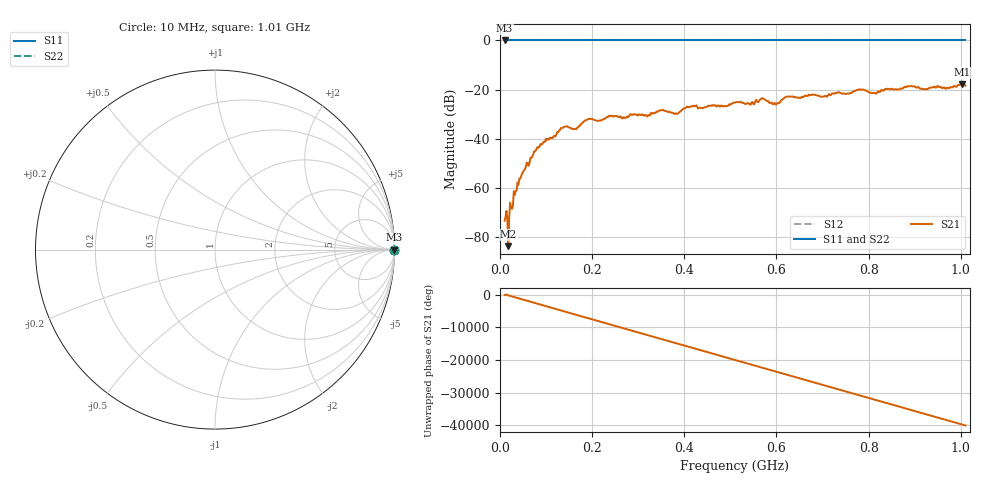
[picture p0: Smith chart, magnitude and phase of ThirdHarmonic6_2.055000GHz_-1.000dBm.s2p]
! 8/17/2025 12:38:05 AM
! C:\ANRITSUVNA\TEMP\TEMP.S2P
! CHANNEL.1
! TR.MEASUREMENT
! RAW.DATA
! RF.CORRECTION.OFF
! AVERAGING.OFF
! IF.BANDWIDTH: 5KHZ
! SWEEPTYPE:  FREQ.SWEEP(Linear)
! Reference Plane Port Info
! PORT:  PORT1  PORT2
! DISTANCE:  0  m  0  m
! TIME:  0  s  0  s
! PHASE.OFFSET:  0  deg.  0  deg.
! LOSS:  0  dB  0  dB
! REF.LOSS:  0  dB  0  dB
! REF.FREQ:  0  Hz  0  Hz
! Power Info
! POWER:  -20  dBm  -20  dBm
! EFF.POWER:  -20  dBm  -20  dBm
! SOURCE.ATTEN:  0  dB  0  dB
! TEST.ATTEN:  0  dB  0  dB
# GHZ S RI R 50.0
! FREQ.GHZ  S11RE  S11IM  S21RE  S21IM  S12RE  S12IM  S22RE  S22IM
!; PortSelection: Port_12
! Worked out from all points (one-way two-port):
!   501 points, 10 MHz to 1.01 GHz, reference 50 ohm
!   highest |S21| = -17.80 dB at 1.002 GHz (marker M1); lowest = -83.7 dB at 18 MHz (marker M2)
!   lowest |S11| = 0.0 dB at 10 MHz (marker M3)
!   |S11| at or under -10 dB: nowhere
!   |S22| runs from 0.0 to 0.0 dB; largest |S21 - S12| = 1.1
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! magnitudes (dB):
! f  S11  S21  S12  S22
! 10 MHz  0.0  -73.4  0.0  0.0
! 14 MHz  0.0  -69.3  0.0  0.0
! 18 MHz  0.0  -83.7  0.0  0.0
! 22 MHz  0.0  -66.0  0.0  0.0
! 26 MHz  0.0  -68.5  0.0  0.0
! 42 MHz  0.0  -56.2  0.0  0.0
! 78 MHz  0.0  -44.8  0.0  0.0
! 136 MHz  0.0  -35.6  0.0  0.0
! 162 MHz  0.0  -36.0  0.0  0.0
! 178 MHz  0.0  -33.7  0.0  0.0
! 344 MHz  0.0  -28.8  0.0  0.0
! 382 MHz  0.0  -29.7  0.0  0.0
! 410 MHz  0.0  -27.2  0.0  0.0
! 510 MHz  0.0  -25.2  0.0  0.0
! 548 MHz  0.0  -25.1  0.0  0.0
! 570 MHz  0.0  -23.5  0.0  0.0
! 596 MHz  0.0  -25.4  0.0  0.0
! 622 MHz  0.0  -22.9  0.0  0.0
! 678 MHz  0.0  -22.0  0.0  0.0
! 844 MHz  0.0  -19.8  0.0  0.0
! 1.002 GHz  0.0  -17.8  0.0  0.0
! 1.01 GHz  0.0  -18.4  0.0  0.0
